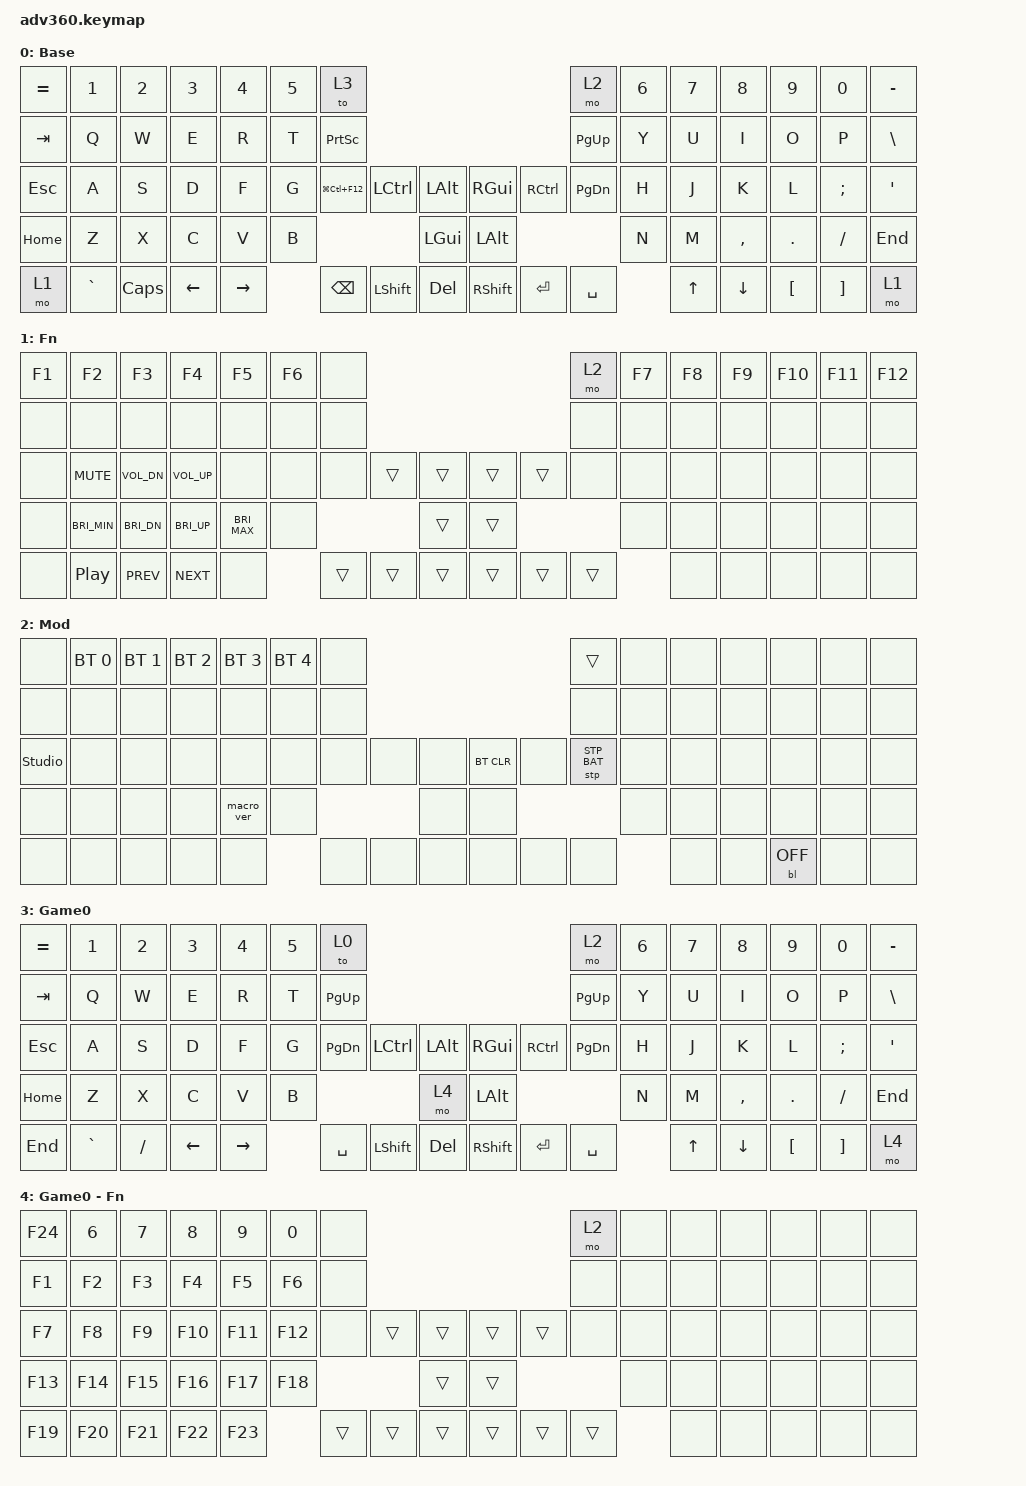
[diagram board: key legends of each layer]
#include <dt-bindings/zmk/stp.h>
#include <behaviors.dtsi>
#include <dt-bindings/zmk/backlight.h>
#include <dt-bindings/zmk/bt.h>
#include <dt-bindings/zmk/keys.h>

/ {
    behaviors {
        #include "macros.dtsi"
      #include "version.dtsi"

        hm: homerow_mods {
            compatible = "zmk,behavior-hold-tap";
            label = "HOMEROW_MODS";
            #binding-cells = <2>;
            tapping-term-ms = <200>;
            quick_tap_ms = <175>;
            flavor = "tap-preferred";
            bindings = <&kp>, <&kp>;
        };
    };

    keymap {
        compatible = "zmk,keymap";

        default_layer {
            display-name = "Base";
            bindings = <
&kp EQUAL  &kp N1     &kp N2    &kp N3    &kp N4     &kp N5  &to 3                                                             &mo 2      &kp N6  &kp N7  &kp N8     &kp N9    &kp N0    &kp MINUS
&kp TAB    &kp Q      &kp W     &kp E     &kp R      &kp T   &kp PSCRN                                                         &kp PG_UP  &kp Y   &kp U   &kp I      &kp O     &kp P     &kp BSLH
&kp ESC    &kp A      &kp S     &kp D     &kp F      &kp G   &kp LG(LC(F12))  &kp LCTRL   &kp LALT      &kp RGUI    &kp RCTRL  &kp PG_DN  &kp H   &kp J   &kp K      &kp L     &kp SEMI  &kp SQT
&kp HOME   &kp Z      &kp X     &kp C     &kp V      &kp B                                &kp LGUI      &kp LALT                          &kp N   &kp M   &kp COMMA  &kp DOT   &kp FSLH  &kp END
&mo 1      &kp GRAVE  &kp CAPS  &kp LEFT  &kp RIGHT          &kp BSPC         &kp LSHIFT  &kp DEL       &kp RSHIFT  &kp ENTER  &kp SPACE          &kp UP  &kp DOWN   &kp LBKT  &kp RBKT  &mo 1
            >;
        };

        fn {
            display-name = "Fn";
            bindings = <
&kp F1  &kp F2         &kp F3        &kp F4        &kp F5         &kp F6  &none                                       &mo 2   &kp F7  &kp F8  &kp F9  &kp F10  &kp F11  &kp F12
&none   &none          &none         &none         &none          &none   &none                                       &none   &none   &none   &none   &none    &none    &none
&none   &kp C_MUTE     &kp C_VOL_DN  &kp C_VOL_UP  &none          &none   &none   &trans  &trans      &trans  &trans  &none   &none   &none   &none   &none    &none    &none
&none   &kp C_BRI_MIN  &kp C_BRI_DN  &kp C_BRI_UP  &kp C_BRI_MAX  &none                   &trans      &trans                  &none   &none   &none   &none    &none    &none
&none   &kp C_PP       &kp C_PREV    &kp C_NEXT    &none                  &trans  &trans  &trans      &trans  &trans  &trans          &none   &none   &none    &none    &none
            >;
        };

        mod {
            display-name = "Mod";
            bindings = <
&none           &bt BT_SEL 0  &bt BT_SEL 1  &bt BT_SEL 2  &bt BT_SEL 3  &bt BT_SEL 4  &none                                       &trans        &none  &none  &none  &none       &none  &none
&none           &none         &none         &none         &none         &none         &none                                       &none         &none  &none  &none  &none       &none  &none
&studio_unlock  &none         &none         &none         &none         &none         &none  &none  &none      &bt BT_CLR  &none  &stp STP_BAT  &none  &none  &none  &none       &none  &none
&none           &none         &none         &none         &macro_ver    &none                       &none      &none                            &none  &none  &none  &none       &none  &none
&none           &none         &none         &none         &none                       &none  &none  &none      &none       &none  &none                &none  &none  &bl BL_OFF  &none  &none
            >;
        };

        game_0 {
            display-name = "Game0";
            bindings = <
&kp EQUAL  &kp N1     &kp N2    &kp N3    &kp N4     &kp N5  &to 0                                                       &mo 2      &kp N6  &kp N7  &kp N8     &kp N9    &kp N0    &kp MINUS
&kp TAB    &kp Q      &kp W     &kp E     &kp R      &kp T   &kp PG_UP                                                   &kp PG_UP  &kp Y   &kp U   &kp I      &kp O     &kp P     &kp BSLH
&kp ESC    &kp A      &kp S     &kp D     &kp F      &kp G   &kp PG_DN  &kp LCTRL   &kp LALT      &kp RGUI    &kp RCTRL  &kp PG_DN  &kp H   &kp J   &kp K      &kp L     &kp SEMI  &kp SQT
&kp HOME   &kp Z      &kp X     &kp C     &kp V      &kp B                          &mo 4         &kp LALT                          &kp N   &kp M   &kp COMMA  &kp DOT   &kp FSLH  &kp END
&kp END    &kp GRAVE  &kp FSLH  &kp LEFT  &kp RIGHT          &kp SPACE  &kp LSHIFT  &kp DEL       &kp RSHIFT  &kp ENTER  &kp SPACE          &kp UP  &kp DOWN   &kp LBKT  &kp RBKT  &mo 4
            >;
        };

        game_0_fn {
            display-name = "Game0 - Fn";
            bindings = <
&kp F24  &kp N6   &kp N7   &kp N8   &kp N9   &kp N0   &none                                       &mo 2   &none  &none  &none  &none  &none  &none
&kp F1   &kp F2   &kp F3   &kp F4   &kp F5   &kp F6   &none                                       &none   &none  &none  &none  &none  &none  &none
&kp F7   &kp F8   &kp F9   &kp F10  &kp F11  &kp F12  &none   &trans  &trans      &trans  &trans  &none   &none  &none  &none  &none  &none  &none
&kp F13  &kp F14  &kp F15  &kp F16  &kp F17  &kp F18                  &trans      &trans                  &none  &none  &none  &none  &none  &none
&kp F19  &kp F20  &kp F21  &kp F22  &kp F23           &trans  &trans  &trans      &trans  &trans  &trans         &none  &none  &none  &none  &none
            >;
        };
    };
};
